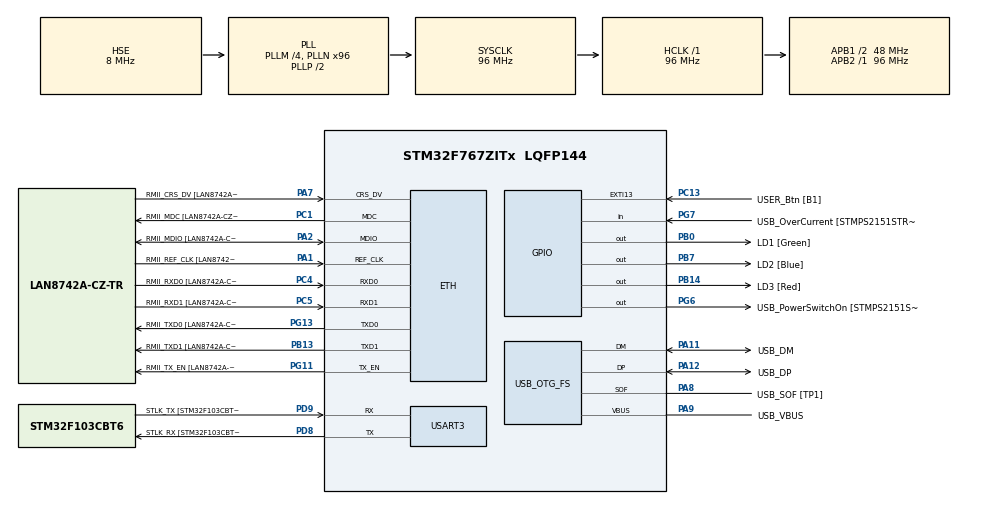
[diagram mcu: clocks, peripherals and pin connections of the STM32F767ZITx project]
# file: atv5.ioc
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ETH.MediaInterface=HAL_ETH_RMII_MODE
ETH.PHY_Name=LAN8742A_PHY_ADDRESS
ETH.PHY_Value=0
ETH.PhyAddress=0
FREERTOS.Mutexes01=myMutex01,Dynamic,NULL,Available
FREERTOS.Tasks01=Task01,24,128,StartTask01,Default,NULL,Dynamic,NULL,NULL;Task02,24,128,StartTask02,Default,NULL,Dynamic,NULL,NULL;Task03,24,128,StartTask03,Default,NULL,Dynamic,NULL,NULL
Mcu.Family=STM32F7
Mcu.Name=STM32F767ZITx
Mcu.Package=LQFP144
NVIC.PriorityGroup=NVIC_PRIORITYGROUP_4
NVIC.TIM1_UP_TIM10_IRQn=true\:15\:0\:false\:false\:true\:false\:false\:true\:true
NVIC.TimeBase=TIM1_UP_TIM10_IRQn
NVIC.TimeBaseIP=TIM1
PA1.GPIO_Label=RMII_REF_CLK [LAN8742A-CZ-TR_REFCLK0]
PA1.Mode=RMII
PA1.Signal=ETH_REF_CLK
PA10.GPIO_Label=USB_ID
PA10.Signal=USB_OTG_FS_ID
PA11.GPIO_Label=USB_DM
PA11.Mode=Device_Only
PA11.Signal=USB_OTG_FS_DM
PA12.GPIO_Label=USB_DP
PA12.Mode=Device_Only
PA12.Signal=USB_OTG_FS_DP
PA13.GPIO_Label=TMS
PA13.Mode=Serial_Wire
PA13.Signal=SYS_JTMS-SWDIO
PA14.GPIO_Label=TCK
PA14.Mode=Serial_Wire
PA14.Signal=SYS_JTCK-SWCLK
PA2.GPIO_Label=RMII_MDIO [LAN8742A-CZ-TR_MDIO]
PA2.Mode=RMII
PA2.Signal=ETH_MDIO
PA7.GPIO_Label=RMII_CRS_DV [LAN8742A-CZ-TR_CRS_DV]
PA7.Mode=RMII
PA7.Signal=ETH_CRS_DV
PA8.GPIO_Label=USB_SOF [TP1]
PA8.Mode=Activate_SOF_FS
PA8.Signal=USB_OTG_FS_SOF
PA9.GPIO_Label=USB_VBUS
PA9.Mode=Activate_VBUS
PA9.Signal=USB_OTG_FS_VBUS
PB0.GPIO_Label=LD1 [Green]
PB0.Signal=GPIO_Output
PB13.GPIO_Label=RMII_TXD1 [LAN8742A-CZ-TR_TXD1]
PB13.Mode=RMII
PB13.Signal=ETH_TXD1
PB14.GPIO_Label=LD3 [Red]
PB14.Signal=GPIO_Output
PB3.GPIO_Label=SWO
PB3.Signal=SYS_JTDO-SWO
PB7.GPIO_Label=LD2 [Blue]
PB7.Signal=GPIO_Output
PC1.GPIO_Label=RMII_MDC [LAN8742A-CZ-TR_MDC]
PC1.Mode=RMII
PC1.Signal=ETH_MDC
PC13.GPIO_Label=USER_Btn [B1]
PC13.Signal=GPXTI13
PC14/OSC32_IN.Mode=LSE-External-Oscillator
PC14/OSC32_IN.Signal=RCC_OSC32_IN
PC15/OSC32_OUT.Mode=LSE-External-Oscillator
PC15/OSC32_OUT.Signal=RCC_OSC32_OUT
PC4.GPIO_Label=RMII_RXD0 [LAN8742A-CZ-TR_RXD0]
PC4.Mode=RMII
PC4.Signal=ETH_RXD0
PC5.GPIO_Label=RMII_RXD1 [LAN8742A-CZ-TR_RXD1]
PC5.Mode=RMII
PC5.Signal=ETH_RXD1
PD8.GPIO_Label=STLK_RX [STM32F103CBT6_PA3]
PD8.Mode=Asynchronous
PD8.Signal=USART3_TX
PD9.GPIO_Label=STLK_TX [STM32F103CBT6_PA2]
PD9.Mode=Asynchronous
PD9.Signal=USART3_RX
PG11.GPIO_Label=RMII_TX_EN [LAN8742A-CZ-TR_TXEN]
PG11.Mode=RMII
PG11.Signal=ETH_TX_EN
PG13.GPIO_Label=RMII_TXD0 [LAN8742A-CZ-TR_TXD0]
PG13.Mode=RMII
PG13.Signal=ETH_TXD0
PG6.GPIO_Label=USB_PowerSwitchOn [STMPS2151STR_EN]
PG6.Signal=GPIO_Output
PG7.GPIO_Label=USB_OverCurrent [STMPS2151STR_FAULT]
PG7.Signal=GPIO_Input
PH0/OSC_IN.GPIO_Label=MCO [STM32F103CBT6_PA8]
PH0/OSC_IN.Mode=HSE-External-Clock-Source
PH0/OSC_IN.Signal=RCC_OSC_IN
PH1/OSC_OUT.Mode=HSE-External-Clock-Source
PH1/OSC_OUT.Signal=RCC_OSC_OUT
ProjectManager.HeapSize=0x200
ProjectManager.StackSize=0x400
ProjectManager.TargetToolchain=STM32CubeIDE
RCC.48MHZClocksFreq_Value=24000000
RCC.AHBFreq_Value=96000000
RCC.APB1CLKDivider=RCC_HCLK_DIV2
RCC.APB1Freq_Value=48000000
RCC.APB1TimFreq_Value=96000000
RCC.APB2Freq_Value=96000000
RCC.APB2TimFreq_Value=96000000
RCC.CortexFreq_Value=96000000
RCC.HCLKFreq_Value=96000000
RCC.HSE_VALUE=8000000
RCC.HSI_VALUE=16000000
RCC.PLLM=4
RCC.PLLMUL=RCC_PLL_MUL9
RCC.PLLN=96
RCC.PLLQ=4
RCC.PRESCALERUSB=RCC_USBCLKSOURCE_PLL_DIV1_5
RCC.SYSCLKFreq_VALUE=96000000
RCC.SYSCLKSource=RCC_SYSCLKSOURCE_PLLCLK
RCC.SYSCLKSourceVirtual=RCC_SYSCLKSOURCE_PLLCLK
RCC.USBFreq_Value=48000000
RCC.VCOOutputFreq_Value=192000000
USART3.VirtualMode-Asynchronous=VM_ASYNC
USB_OTG_FS.VirtualMode=Device_Only
VP_FREERTOS_VS_CMSIS_V2.Mode=CMSIS_V2
VP_SYS_VS_tim1.Mode=TIM1
board=NUCLEO-F767ZI

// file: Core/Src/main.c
/* USER CODE BEGIN Header */
/**
  ******************************************************************************
  * @file           : main.c
  * @brief          : Main program body
  ******************************************************************************
  * @attention
  *
  * Copyright (c) 2025 STMicroelectronics.
  * All rights reserved.
  *
  * This software is licensed under terms that can be found in the LICENSE file
  * in the root directory of this software component.
  * If no LICENSE file comes with this software, it is provided AS-IS.
  *
  ******************************************************************************
  */
/* USER CODE END Header */
#include "main.h"
#include "string.h"
#include "cmsis_os.h"
#include <stdio.h>

#if defined ( __ICCARM__ ) /*!< IAR Compiler */
#pragma location=0x2007c000
ETH_DMADescTypeDef  DMARxDscrTab[ETH_RX_DESC_CNT]; /* Ethernet Rx DMA Descriptors */
#pragma location=0x2007c0a0
ETH_DMADescTypeDef  DMATxDscrTab[ETH_TX_DESC_CNT]; /* Ethernet Tx DMA Descriptors */

#elif defined ( __CC_ARM )  /* MDK ARM Compiler */

__attribute__((at(0x2007c000))) ETH_DMADescTypeDef  DMARxDscrTab[ETH_RX_DESC_CNT]; /* Ethernet Rx DMA Descriptors */
__attribute__((at(0x2007c0a0))) ETH_DMADescTypeDef  DMATxDscrTab[ETH_TX_DESC_CNT]; /* Ethernet Tx DMA Descriptors */

#elif defined ( __GNUC__ ) /* GNU Compiler */

ETH_DMADescTypeDef DMARxDscrTab[ETH_RX_DESC_CNT] __attribute__((section(".RxDecripSection"))); /* Ethernet Rx DMA Descriptors */
ETH_DMADescTypeDef DMATxDscrTab[ETH_TX_DESC_CNT] __attribute__((section(".TxDecripSection")));   /* Ethernet Tx DMA Descriptors */
#endif

ETH_TxPacketConfig TxConfig;

ETH_HandleTypeDef heth;

UART_HandleTypeDef huart3;

PCD_HandleTypeDef hpcd_USB_OTG_FS;

/* Definitions for Task01 */
osThreadId_t Task01Handle;
const osThreadAttr_t Task01_attributes = {
  .name = "Task01",
  .stack_size = 128 * 4,
  .priority = (osPriority_t) osPriorityNormal,
};
/* Definitions for Task02 */
osThreadId_t Task02Handle;
const osThreadAttr_t Task02_attributes = {
  .name = "Task02",
  .stack_size = 128 * 4,
  .priority = (osPriority_t) osPriorityNormal,
};
/* Definitions for Task03 */
osThreadId_t Task03Handle;
const osThreadAttr_t Task03_attributes = {
  .name = "Task03",
  .stack_size = 128 * 4,
  .priority = (osPriority_t) osPriorityNormal,
};
/* Definitions for myMutex01 */
osMutexId_t myMutex01Handle;
const osMutexAttr_t myMutex01_attributes = {
  .name = "myMutex01"
};
osMutexId_t MeuMutexHandle;
osThreadId_t Task01Handle, Task02Handle, Task03Handle;
osThreadId_t donoMutex = NULL;
UART_HandleTypeDef huart3;

void SystemClock_Config(void);
static void MX_GPIO_Init(void);
static void MX_ETH_Init(void);
static void MX_USART3_UART_Init(void);
static void MX_USB_OTG_FS_PCD_Init(void);
void StartTask01(void *argument);
void StartTask02(void *argument);
void StartTask03(void *argument);

int main(void)
{

  /* MCU Configuration--------------------------------------------------------*/

  /* Reset of all peripherals, Initializes the Flash interface and the Systick. */
  HAL_Init();

  /* Configure the system clock */
  SystemClock_Config();

  /* Initialize all configured peripherals */
  MX_GPIO_Init();
  MX_ETH_Init();
  MX_USART3_UART_Init();
  MX_USB_OTG_FS_PCD_Init();
  /* USER CODE BEGIN 2 */

  myMutex01Handle = osMutexNew(&myMutex01_attributes);
  /* USER CODE END 2 */

  /* Init scheduler */
  osKernelInitialize();
  /* Create the mutex(es) */
  /* creation of myMutex01 */

  /* Create the thread(s) */
  /* creation of Task01 */
  Task01Handle = osThreadNew(StartTask01, NULL, &Task01_attributes);

  /* creation of Task02 */
  Task02Handle = osThreadNew(StartTask02, NULL, &Task02_attributes);

  /* creation of Task03 */
  Task03Handle = osThreadNew(StartTask03, NULL, &Task03_attributes);

  /* Start scheduler */
  osKernelStart();

  /* We should never get here as control is now taken by the scheduler */

  /* Infinite loop */
  while (1)
  {

  }
}

void SystemClock_Config(void)
{
  RCC_OscInitTypeDef RCC_OscInitStruct = {0};
  RCC_ClkInitTypeDef RCC_ClkInitStruct = {0};

  /** Configure LSE Drive Capability
  */
  HAL_PWR_EnableBkUpAccess();

  /** Configure the main internal regulator output voltage
  */
  __HAL_RCC_PWR_CLK_ENABLE();
  __HAL_PWR_VOLTAGESCALING_CONFIG(PWR_REGULATOR_VOLTAGE_SCALE3);

  /** Initializes the RCC Oscillators according to the specified parameters
  * in the RCC_OscInitTypeDef structure.
  */
  RCC_OscInitStruct.OscillatorType = RCC_OSCILLATORTYPE_HSE;
  RCC_OscInitStruct.HSEState = RCC_HSE_BYPASS;
  RCC_OscInitStruct.PLL.PLLState = RCC_PLL_ON;
  RCC_OscInitStruct.PLL.PLLSource = RCC_PLLSOURCE_HSE;
  RCC_OscInitStruct.PLL.PLLM = 4;
  RCC_OscInitStruct.PLL.PLLN = 96;
  RCC_OscInitStruct.PLL.PLLP = RCC_PLLP_DIV2;
  RCC_OscInitStruct.PLL.PLLQ = 4;
  RCC_OscInitStruct.PLL.PLLR = 2;
  if (HAL_RCC_OscConfig(&RCC_OscInitStruct) != HAL_OK)
  {
    Error_Handler();
  }

  /** Activate the Over-Drive mode
  */
  if (HAL_PWREx_EnableOverDrive() != HAL_OK)
  {
    Error_Handler();
  }

  /** Initializes the CPU, AHB and APB buses clocks
  */
  RCC_ClkInitStruct.ClockType = RCC_CLOCKTYPE_HCLK|RCC_CLOCKTYPE_SYSCLK
                              |RCC_CLOCKTYPE_PCLK1|RCC_CLOCKTYPE_PCLK2;
  RCC_ClkInitStruct.SYSCLKSource = RCC_SYSCLKSOURCE_PLLCLK;
  RCC_ClkInitStruct.AHBCLKDivider = RCC_SYSCLK_DIV1;
  RCC_ClkInitStruct.APB1CLKDivider = RCC_HCLK_DIV2;
  RCC_ClkInitStruct.APB2CLKDivider = RCC_HCLK_DIV1;

  if (HAL_RCC_ClockConfig(&RCC_ClkInitStruct, FLASH_LATENCY_3) != HAL_OK)
  {
    Error_Handler();
  }
}

static void MX_ETH_Init(void)
{

   static uint8_t MACAddr[6];

  heth.Instance = ETH;
  MACAddr[0] = 0x00;
  MACAddr[1] = 0x80;
  MACAddr[2] = 0xE1;
  MACAddr[3] = 0x00;
  MACAddr[4] = 0x00;
  MACAddr[5] = 0x00;
  heth.Init.MACAddr = &MACAddr[0];
  heth.Init.MediaInterface = HAL_ETH_RMII_MODE;
  heth.Init.TxDesc = DMATxDscrTab;
  heth.Init.RxDesc = DMARxDscrTab;
  heth.Init.RxBuffLen = 1524;

  if (HAL_ETH_Init(&heth) != HAL_OK)
  {
    Error_Handler();
  }

  memset(&TxConfig, 0 , sizeof(ETH_TxPacketConfig));
  TxConfig.Attributes = ETH_TX_PACKETS_FEATURES_CSUM | ETH_TX_PACKETS_FEATURES_CRCPAD;
  TxConfig.ChecksumCtrl = ETH_CHECKSUM_IPHDR_PAYLOAD_INSERT_PHDR_CALC;
  TxConfig.CRCPadCtrl = ETH_CRC_PAD_INSERT;

}

static void MX_USART3_UART_Init(void)
{

  huart3.Instance = USART3;
  huart3.Init.BaudRate = 115200;
  huart3.Init.WordLength = UART_WORDLENGTH_8B;
  huart3.Init.StopBits = UART_STOPBITS_1;
  huart3.Init.Parity = UART_PARITY_NONE;
  huart3.Init.Mode = UART_MODE_TX_RX;
  huart3.Init.HwFlowCtl = UART_HWCONTROL_NONE;
  huart3.Init.OverSampling = UART_OVERSAMPLING_16;
  huart3.Init.OneBitSampling = UART_ONE_BIT_SAMPLE_DISABLE;
  huart3.AdvancedInit.AdvFeatureInit = UART_ADVFEATURE_NO_INIT;
  if (HAL_UART_Init(&huart3) != HAL_OK)
  {
    Error_Handler();
  }

}

static void MX_USB_OTG_FS_PCD_Init(void)
{

  hpcd_USB_OTG_FS.Instance = USB_OTG_FS;
  hpcd_USB_OTG_FS.Init.dev_endpoints = 6;
  hpcd_USB_OTG_FS.Init.speed = PCD_SPEED_FULL;
  hpcd_USB_OTG_FS.Init.dma_enable = DISABLE;
  hpcd_USB_OTG_FS.Init.phy_itface = PCD_PHY_EMBEDDED;
  hpcd_USB_OTG_FS.Init.Sof_enable = ENABLE;
  hpcd_USB_OTG_FS.Init.low_power_enable = DISABLE;
  hpcd_USB_OTG_FS.Init.lpm_enable = DISABLE;
  hpcd_USB_OTG_FS.Init.vbus_sensing_enable = ENABLE;
  hpcd_USB_OTG_FS.Init.use_dedicated_ep1 = DISABLE;
  if (HAL_PCD_Init(&hpcd_USB_OTG_FS) != HAL_OK)
  {
    Error_Handler();
  }

}

static void MX_GPIO_Init(void)
{
  GPIO_InitTypeDef GPIO_InitStruct = {0};

  /* GPIO Ports Clock Enable */
  __HAL_RCC_GPIOC_CLK_ENABLE();
  __HAL_RCC_GPIOH_CLK_ENABLE();
  __HAL_RCC_GPIOA_CLK_ENABLE();
  __HAL_RCC_GPIOB_CLK_ENABLE();
  __HAL_RCC_GPIOD_CLK_ENABLE();
  __HAL_RCC_GPIOG_CLK_ENABLE();

  /*Configure GPIO pin Output Level */
  HAL_GPIO_WritePin(GPIOB, LD1_Pin|LD3_Pin|LD2_Pin, GPIO_PIN_RESET);

  /*Configure GPIO pin Output Level */
  HAL_GPIO_WritePin(USB_PowerSwitchOn_GPIO_Port, USB_PowerSwitchOn_Pin, GPIO_PIN_RESET);

  /*Configure GPIO pin : USER_Btn_Pin */
  GPIO_InitStruct.Pin = USER_Btn_Pin;
  GPIO_InitStruct.Mode = GPIO_MODE_IT_RISING;
  GPIO_InitStruct.Pull = GPIO_NOPULL;
  HAL_GPIO_Init(USER_Btn_GPIO_Port, &GPIO_InitStruct);

  /*Configure GPIO pins : LD1_Pin LD3_Pin LD2_Pin */
  GPIO_InitStruct.Pin = LD1_Pin|LD3_Pin|LD2_Pin;
  GPIO_InitStruct.Mode = GPIO_MODE_OUTPUT_PP;
  GPIO_InitStruct.Pull = GPIO_NOPULL;
  GPIO_InitStruct.Speed = GPIO_SPEED_FREQ_LOW;
  HAL_GPIO_Init(GPIOB, &GPIO_InitStruct);

  /*Configure GPIO pin : USB_PowerSwitchOn_Pin */
  GPIO_InitStruct.Pin = USB_PowerSwitchOn_Pin;
  GPIO_InitStruct.Mode = GPIO_MODE_OUTPUT_PP;
  GPIO_InitStruct.Pull = GPIO_NOPULL;
  GPIO_InitStruct.Speed = GPIO_SPEED_FREQ_LOW;
  HAL_GPIO_Init(USB_PowerSwitchOn_GPIO_Port, &GPIO_InitStruct);

  /*Configure GPIO pin : USB_OverCurrent_Pin */
  GPIO_InitStruct.Pin = USB_OverCurrent_Pin;
  GPIO_InitStruct.Mode = GPIO_MODE_INPUT;
  GPIO_InitStruct.Pull = GPIO_NOPULL;
  HAL_GPIO_Init(USB_OverCurrent_GPIO_Port, &GPIO_InitStruct);

}

void StartTask01(void *argument)
{
  /* USER CODE BEGIN 5 */
	(void) argument;
  /* Infinite loop */
  for(;;)
  {
	  if (osMutexAcquire( myMutex01Handle, osWaitForever) == osOK) {
	             // Tornar-se dono do mutex
	             donoMutex = osThreadGetId();
	             // Enviar mensagem via UART
	             char msg1[] = "Tarefa 1: recurso em uso e liberado.\r\n";
	             HAL_UART_Transmit(&huart3, (uint8_t*)msg1, strlen(msg1), HAL_MAX_DELAY);
	             // Indicar visualmente via LED1
	             HAL_GPIO_TogglePin(GPIOB, LD1_Pin);
	             // Liberar o mutex e limpar dono
	             osMutexRelease( myMutex01Handle);
	             donoMutex = NULL;
	         }
	         osDelay(1000);
  }
  /* USER CODE END 5 */
}

void StartTask02(void *argument)
{
  /* USER CODE BEGIN StartTask02 */
	(void) argument;
  /* Infinite loop */
  for(;;)
  {
	  if (osMutexAcquire(myMutex01Handle, osWaitForever) == osOK) {
	              donoMutex = osThreadGetId();
	              // Executa 3 ciclos de uso do recurso (ex.: 3 transmissões UART com LED2)
	              for (int i = 0; i < 3; i++) {
	                  char buffer[64];
	                  int len = snprintf(buffer, sizeof(buffer), "Tarefa 2: ciclo %d no recurso.\r\n", i+1);
	                  HAL_UART_Transmit(&huart3, (uint8_t*)buffer, len, HAL_MAX_DELAY);
	                  HAL_GPIO_TogglePin(GPIOB, LD2_Pin);
	                  osDelay(1000);
	              }
	              // Depois de 3 ciclos, libera o mutex
	              osMutexRelease(myMutex01Handle);
	              donoMutex = NULL;
	          }
	          osDelay(500);
  }
  /* USER CODE END StartTask02 */
}

void StartTask03(void *argument)
{
  /* USER CODE BEGIN StartTask03 */
	(void) argument;
  /* Infinite loop */
  for(;;)
  {
	  // Tenta adquirir o mutex com timeout de 2000 ticks (~2 segundos)
	         osStatus_t status = osMutexAcquire(myMutex01Handle, 2000);
	         if (status == osOK) {
	             // Adquiriu o mutex dentro do tempo
	             donoMutex = osThreadGetId();
	             char msg3[] = "Tarefa 3: recurso obtido normalmente.\r\n";
	             HAL_UART_Transmit(&huart3, (uint8_t*)msg3, strlen(msg3), HAL_MAX_DELAY);
	             // Desliga LED de aviso caso estivesse aceso
	             HAL_GPIO_TogglePin(GPIOB, LD3_Pin);
	             osMutexRelease(myMutex01Handle);
	             donoMutex = NULL;
	         } else {
	             // Timeout: tarefa ficou bloqueada por tempo excessivo
	             char alert[] = "Tarefa 3: esperando mutex por tempo excessivo.\r\n";
	             HAL_UART_Transmit(&huart3, (uint8_t*)alert, strlen(alert), HAL_MAX_DELAY);
	             // Acende LED3 para sinalizar contenção prolongada
	             HAL_GPIO_TogglePin(GPIOB, LD3_Pin);
	         }
	         osDelay(1000);
  }
  /* USER CODE END StartTask03 */
}

void HAL_TIM_PeriodElapsedCallback(TIM_HandleTypeDef *htim)
{
  if (htim->Instance == TIM1)
  {
    HAL_IncTick();
  }
}

void Error_Handler(void)
{
  __disable_irq();
  while (1)
  {
  }
}
